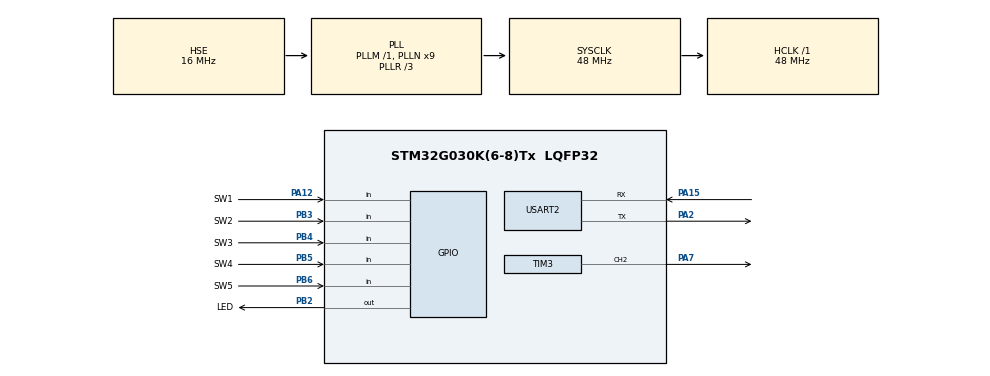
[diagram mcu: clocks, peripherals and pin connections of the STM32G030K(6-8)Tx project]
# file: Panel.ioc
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Dma.Request0=USART2_RX
Dma.Request1=TIM3_CH2
Dma.TIM3_CH2.1.Direction=DMA_MEMORY_TO_PERIPH
Dma.TIM3_CH2.1.EventEnable=DISABLE
Dma.TIM3_CH2.1.Instance=DMA1_Channel2
Dma.TIM3_CH2.1.MemDataAlignment=DMA_MDATAALIGN_BYTE
Dma.TIM3_CH2.1.MemInc=DMA_MINC_ENABLE
Dma.TIM3_CH2.1.Mode=DMA_CIRCULAR
Dma.TIM3_CH2.1.PeriphDataAlignment=DMA_PDATAALIGN_WORD
Dma.TIM3_CH2.1.PeriphInc=DMA_PINC_DISABLE
Dma.TIM3_CH2.1.Polarity=HAL_DMAMUX_REQ_GEN_RISING
Dma.TIM3_CH2.1.Priority=DMA_PRIORITY_VERY_HIGH
Dma.TIM3_CH2.1.RequestNumber=1
Dma.TIM3_CH2.1.SignalID=NONE
Dma.TIM3_CH2.1.SyncEnable=DISABLE
Dma.TIM3_CH2.1.SyncPolarity=HAL_DMAMUX_SYNC_NO_EVENT
Dma.TIM3_CH2.1.SyncRequestNumber=1
Dma.TIM3_CH2.1.SyncSignalID=NONE
Dma.USART2_RX.0.Direction=DMA_PERIPH_TO_MEMORY
Dma.USART2_RX.0.EventEnable=DISABLE
Dma.USART2_RX.0.Instance=DMA1_Channel1
Dma.USART2_RX.0.MemDataAlignment=DMA_MDATAALIGN_BYTE
Dma.USART2_RX.0.MemInc=DMA_MINC_ENABLE
Dma.USART2_RX.0.Mode=DMA_CIRCULAR
Dma.USART2_RX.0.PeriphDataAlignment=DMA_PDATAALIGN_BYTE
Dma.USART2_RX.0.PeriphInc=DMA_PINC_DISABLE
Dma.USART2_RX.0.Polarity=HAL_DMAMUX_REQ_GEN_RISING
Dma.USART2_RX.0.Priority=DMA_PRIORITY_HIGH
Dma.USART2_RX.0.RequestNumber=1
Dma.USART2_RX.0.SignalID=NONE
Dma.USART2_RX.0.SyncEnable=DISABLE
Dma.USART2_RX.0.SyncPolarity=HAL_DMAMUX_SYNC_NO_EVENT
Dma.USART2_RX.0.SyncRequestNumber=1
Dma.USART2_RX.0.SyncSignalID=NONE
Mcu.Family=STM32G0
Mcu.Name=STM32G030K(6-8)Tx
Mcu.Package=LQFP32
NVIC.DMA1_Channel1_IRQn=true\:0\:0\:false\:false\:true\:false\:true\:true
NVIC.DMA1_Channel2_3_IRQn=true\:0\:0\:false\:false\:true\:false\:true\:true
PA12\ [PA10].GPIO_Label=SW1
PA12\ [PA10].Signal=GPIO_Input
PA13.Mode=Serial_Wire
PA13.Signal=SYS_SWDIO
PA14-BOOT0.Mode=Serial_Wire
PA14-BOOT0.Signal=SYS_SWCLK
PA15.Mode=Asynchronous
PA15.Signal=USART2_RX
PA2.Mode=Asynchronous
PA2.Signal=USART2_TX
PA7.Signal=S_TIM3_CH2
PB2.GPIO_Label=LED
PB2.Signal=GPIO_Output
PB3.GPIO_Label=SW2
PB3.Signal=GPIO_Input
PB4.GPIO_Label=SW3
PB4.Signal=GPIO_Input
PB5.GPIO_Label=SW4
PB5.Signal=GPIO_Input
PB6.GPIO_Label=SW5
PB6.Signal=GPIO_Input
PC14-OSC32_IN\ (PC14).Mode=HSE-External-Clock-Source
PC14-OSC32_IN\ (PC14).Signal=RCC_OSC_IN
ProjectManager.HeapSize=0x200
ProjectManager.StackSize=0x400
ProjectManager.TargetToolchain=STM32CubeIDE
RCC.ADCFreq_Value=48000000
RCC.AHBFreq_Value=48000000
RCC.CortexFreq_Value=48000000
RCC.EXTERNAL_CLOCK_VALUE=12288000
RCC.HCLKFreq_Value=48000000
RCC.HSE_VALUE=16000000
RCC.HSI_VALUE=16000000
RCC.LSE_VALUE=32768
RCC.PLLN=9
RCC.PLLR=RCC_PLLR_DIV3
RCC.PLLSourceVirtual=RCC_PLLSOURCE_HSE
RCC.SYSCLKFreq_VALUE=48000000
RCC.SYSCLKSource=RCC_SYSCLKSOURCE_PLLCLK
RCC.VCOOutputFreq_Value=144000000
SH.S_TIM3_CH2.0=TIM3_CH2,PWM Generation2 CH2
TIM3.Channel-PWM\ Generation2\ CH2=TIM_CHANNEL_2
TIM3.OCFastMode_PWM-PWM\ Generation2\ CH2=TIM_OCFAST_ENABLE
TIM3.Period=15-1
TIM3.Prescaler=4-1
USART2.VirtualMode-Asynchronous=VM_ASYNC
VP_TIM3_VS_ClockSourceINT.Mode=Internal
board=custom

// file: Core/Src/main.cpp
/* USER CODE BEGIN Header */
/**
  ******************************************************************************
  * @file           : main.c
  * @brief          : Main program body
  ******************************************************************************
  * @attention
  *
  * Copyright (c) 2024 STMicroelectronics.
  * All rights reserved.
  *
  * This software is licensed under terms that can be found in the LICENSE file
  * in the root directory of this software component.
  * If no LICENSE file comes with this software, it is provided AS-IS.
  *
  ******************************************************************************
  */
/* USER CODE END Header */
#include "main.h"

/* USER CODE BEGIN Includes */
#include "ws2812.h"
#include "led.h"
#include "sdma_transmit.h"

/* USER CODE END Includes */

TIM_HandleTypeDef htim3;
DMA_HandleTypeDef hdma_tim3_ch2;

UART_HandleTypeDef huart2;
DMA_HandleTypeDef hdma_usart2_rx;

/* USER CODE BEGIN PV */
WS2812 Neopixel(&htim3, TIM_CHANNEL_2, &hdma_tim3_ch2);
LED led(&Neopixel);
SDMA_TRANSMIT fromMother(&huart2,0);
float k=0;
int out_hue1, out_hue2;
int id;

/* USER CODE END PV */

void SystemClock_Config(void);
static void MX_GPIO_Init(void);
static void MX_DMA_Init(void);
static void MX_USART2_UART_Init(void);
static void MX_TIM3_Init(void);

/* USER CODE BEGIN 0 */

void HAL_TIM_PWM_PulseFinishedHalfCpltCallback(TIM_HandleTypeDef *htim) {
	led.do_forwardRewrite();
}

void HAL_TIM_PWM_PulseFinishedCallback(TIM_HandleTypeDef *htim){
	led.do_backRewrite();
}

uint8_t readID(){
	uint8_t ID = 0;
	if(HAL_GPIO_ReadPin(SW3_GPIO_Port, SW3_Pin)==1){ID=0;}
	else if(HAL_GPIO_ReadPin(SW4_GPIO_Port, SW4_Pin)==1){ID=1;}
	else if(HAL_GPIO_ReadPin(SW5_GPIO_Port, SW5_Pin)==1){ID=2;}
	if(HAL_GPIO_ReadPin(SW1_GPIO_Port, SW1_Pin)==1){ID=ID+3;}
	else if(HAL_GPIO_ReadPin(SW2_GPIO_Port, SW2_Pin)==1){ID=ID+6;}
	else{ID = ID;}
	return ID;
}

/* USER CODE END 0 */

int main(void)
{

  /* MCU Configuration--------------------------------------------------------*/

  /* Reset of all peripherals, Initializes the Flash interface and the Systick. */
  HAL_Init();

  /* Configure the system clock */
  SystemClock_Config();

  /* Initialize all configured peripherals */
  MX_GPIO_Init();
  MX_DMA_Init();
  MX_USART2_UART_Init();
  MX_TIM3_Init();
  /* USER CODE BEGIN 2 */
  led.init(readID());
  id = readID();
  fromMother.begin_dma();
  /* USER CODE END 2 */

  /* Infinite loop */
  while (1)
  {

    /* USER CODE BEGIN 3 */
    fromMother.check_buf();
    out_hue1 = 2.5 * fromMother.in_hue1;
    if(out_hue1>=255){out_hue1 = 255;}
    out_hue2 = 2.5 * fromMother.in_hue2;
    if(out_hue2>=255){out_hue2 = 255;}
     led.show(fromMother.travel_x, fromMother.circle_x, fromMother.circle_z, fromMother.radius, out_hue1, out_hue2);
//     HAL_Delay(10);
  }
  /* USER CODE END 3 */
}

void SystemClock_Config(void)
{
  RCC_OscInitTypeDef RCC_OscInitStruct = {0};
  RCC_ClkInitTypeDef RCC_ClkInitStruct = {0};

  /** Configure the main internal regulator output voltage
  */
  HAL_PWREx_ControlVoltageScaling(PWR_REGULATOR_VOLTAGE_SCALE1);

  /** Initializes the RCC Oscillators according to the specified parameters
  * in the RCC_OscInitTypeDef structure.
  */
  RCC_OscInitStruct.OscillatorType = RCC_OSCILLATORTYPE_HSE;
  RCC_OscInitStruct.HSEState = RCC_HSE_BYPASS;
  RCC_OscInitStruct.PLL.PLLState = RCC_PLL_ON;
  RCC_OscInitStruct.PLL.PLLSource = RCC_PLLSOURCE_HSE;
  RCC_OscInitStruct.PLL.PLLM = RCC_PLLM_DIV1;
  RCC_OscInitStruct.PLL.PLLN = 9;
  RCC_OscInitStruct.PLL.PLLP = RCC_PLLP_DIV2;
  RCC_OscInitStruct.PLL.PLLR = RCC_PLLR_DIV3;
  if (HAL_RCC_OscConfig(&RCC_OscInitStruct) != HAL_OK)
  {
    Error_Handler();
  }

  /** Initializes the CPU, AHB and APB buses clocks
  */
  RCC_ClkInitStruct.ClockType = RCC_CLOCKTYPE_HCLK|RCC_CLOCKTYPE_SYSCLK
                              |RCC_CLOCKTYPE_PCLK1;
  RCC_ClkInitStruct.SYSCLKSource = RCC_SYSCLKSOURCE_PLLCLK;
  RCC_ClkInitStruct.AHBCLKDivider = RCC_SYSCLK_DIV1;
  RCC_ClkInitStruct.APB1CLKDivider = RCC_HCLK_DIV1;

  if (HAL_RCC_ClockConfig(&RCC_ClkInitStruct, FLASH_LATENCY_1) != HAL_OK)
  {
    Error_Handler();
  }
}

static void MX_TIM3_Init(void)
{

  TIM_ClockConfigTypeDef sClockSourceConfig = {0};
  TIM_MasterConfigTypeDef sMasterConfig = {0};
  TIM_OC_InitTypeDef sConfigOC = {0};

  htim3.Instance = TIM3;
  htim3.Init.Prescaler = 4-1;
  htim3.Init.CounterMode = TIM_COUNTERMODE_UP;
  htim3.Init.Period = 15-1;
  htim3.Init.ClockDivision = TIM_CLOCKDIVISION_DIV1;
  htim3.Init.AutoReloadPreload = TIM_AUTORELOAD_PRELOAD_DISABLE;
  if (HAL_TIM_Base_Init(&htim3) != HAL_OK)
  {
    Error_Handler();
  }
  sClockSourceConfig.ClockSource = TIM_CLOCKSOURCE_INTERNAL;
  if (HAL_TIM_ConfigClockSource(&htim3, &sClockSourceConfig) != HAL_OK)
  {
    Error_Handler();
  }
  if (HAL_TIM_PWM_Init(&htim3) != HAL_OK)
  {
    Error_Handler();
  }
  sMasterConfig.MasterOutputTrigger = TIM_TRGO_RESET;
  sMasterConfig.MasterSlaveMode = TIM_MASTERSLAVEMODE_DISABLE;
  if (HAL_TIMEx_MasterConfigSynchronization(&htim3, &sMasterConfig) != HAL_OK)
  {
    Error_Handler();
  }
  sConfigOC.OCMode = TIM_OCMODE_PWM1;
  sConfigOC.Pulse = 0;
  sConfigOC.OCPolarity = TIM_OCPOLARITY_HIGH;
  sConfigOC.OCFastMode = TIM_OCFAST_ENABLE;
  if (HAL_TIM_PWM_ConfigChannel(&htim3, &sConfigOC, TIM_CHANNEL_2) != HAL_OK)
  {
    Error_Handler();
  }
  HAL_TIM_MspPostInit(&htim3);

}

static void MX_USART2_UART_Init(void)
{

  huart2.Instance = USART2;
  huart2.Init.BaudRate = 115200;
  huart2.Init.WordLength = UART_WORDLENGTH_8B;
  huart2.Init.StopBits = UART_STOPBITS_1;
  huart2.Init.Parity = UART_PARITY_NONE;
  huart2.Init.Mode = UART_MODE_TX_RX;
  huart2.Init.HwFlowCtl = UART_HWCONTROL_NONE;
  huart2.Init.OverSampling = UART_OVERSAMPLING_16;
  huart2.Init.OneBitSampling = UART_ONE_BIT_SAMPLE_DISABLE;
  huart2.Init.ClockPrescaler = UART_PRESCALER_DIV1;
  huart2.AdvancedInit.AdvFeatureInit = UART_ADVFEATURE_NO_INIT;
  if (HAL_UART_Init(&huart2) != HAL_OK)
  {
    Error_Handler();
  }

}

static void MX_DMA_Init(void)
{

  /* DMA controller clock enable */
  __HAL_RCC_DMA1_CLK_ENABLE();

  /* DMA interrupt init */
  /* DMA1_Channel1_IRQn interrupt configuration */
  HAL_NVIC_SetPriority(DMA1_Channel1_IRQn, 0, 0);
  HAL_NVIC_EnableIRQ(DMA1_Channel1_IRQn);
  /* DMA1_Channel2_3_IRQn interrupt configuration */
  HAL_NVIC_SetPriority(DMA1_Channel2_3_IRQn, 0, 0);
  HAL_NVIC_EnableIRQ(DMA1_Channel2_3_IRQn);

}

static void MX_GPIO_Init(void)
{
  GPIO_InitTypeDef GPIO_InitStruct = {0};

  /* GPIO Ports Clock Enable */
  __HAL_RCC_GPIOC_CLK_ENABLE();
  __HAL_RCC_GPIOA_CLK_ENABLE();
  __HAL_RCC_GPIOB_CLK_ENABLE();

  /*Configure GPIO pin Output Level */
  HAL_GPIO_WritePin(LED_GPIO_Port, LED_Pin, GPIO_PIN_RESET);

  /*Configure GPIO pin : LED_Pin */
  GPIO_InitStruct.Pin = LED_Pin;
  GPIO_InitStruct.Mode = GPIO_MODE_OUTPUT_PP;
  GPIO_InitStruct.Pull = GPIO_NOPULL;
  GPIO_InitStruct.Speed = GPIO_SPEED_FREQ_LOW;
  HAL_GPIO_Init(LED_GPIO_Port, &GPIO_InitStruct);

  /*Configure GPIO pin : SW1_Pin */
  GPIO_InitStruct.Pin = SW1_Pin;
  GPIO_InitStruct.Mode = GPIO_MODE_INPUT;
  GPIO_InitStruct.Pull = GPIO_NOPULL;
  HAL_GPIO_Init(SW1_GPIO_Port, &GPIO_InitStruct);

  /*Configure GPIO pins : SW2_Pin SW3_Pin SW4_Pin SW5_Pin */
  GPIO_InitStruct.Pin = SW2_Pin|SW3_Pin|SW4_Pin|SW5_Pin;
  GPIO_InitStruct.Mode = GPIO_MODE_INPUT;
  GPIO_InitStruct.Pull = GPIO_NOPULL;
  HAL_GPIO_Init(GPIOB, &GPIO_InitStruct);

}

void Error_Handler(void)
{
  __disable_irq();
  while (1)
  {
  }
}
